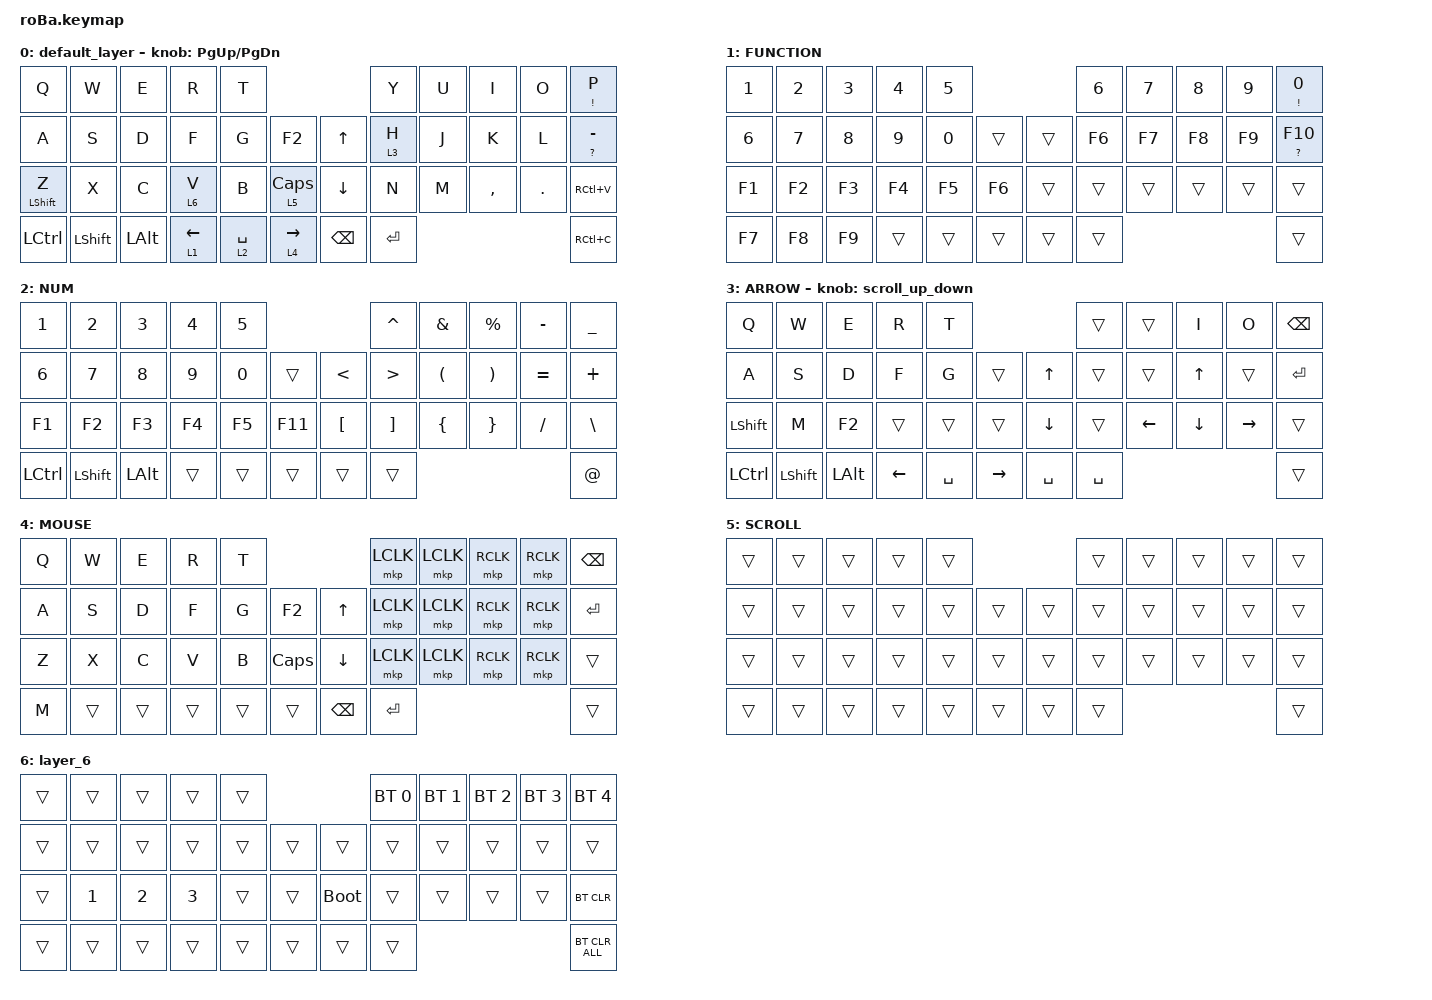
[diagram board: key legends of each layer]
#include <behaviors.dtsi>
#include <dt-bindings/zmk/bt.h>
#include <dt-bindings/zmk/keys.h>
#include <dt-bindings/zmk/pointing.h>

&mt {
    flavor = "balanced";
    quick-tap-ms = <0>;
};

&trackball {
    automouse-layer = <4>;
    scroll-layers = <5>;

    // arrows {
    //     layers = <3>;
    //     bindings =
    //         <&kp RIGHT_ARROW>,
    //         <&kp LEFT_ARROW>,
    //         <&kp UP_ARROW>,
    //         <&kp DOWN_ARROW>;
    //     tick = <10>;
    //     wait-ms = <5>;
    //     tap-ms = <5>;
    // };
};

/ {
    combos {
        compatible = "zmk,combos";

        tab {
            bindings = <&kp TAB>;
            key-positions = <11 12>;
        };

        shift_tab {
            bindings = <&kp LS(TAB)>;
            key-positions = <12 13>;
        };

        muhennkann {
            bindings = <&to_layer_0 INT_MUHENKAN>;
            key-positions = <11 10>;
        };

        double_quotation {
            bindings = <&kp DOUBLE_QUOTES>;
            key-positions = <20 21>;
        };

        eq {
            bindings = <&kp EQUAL>;
            key-positions = <24 25>;
        };
    };

    macros {
        to_layer_0: to_layer_0 {
            compatible = "zmk,behavior-macro-one-param";
            #binding-cells = <1>;
            bindings = <&to 0 &macro_param_1to1 &kp MACRO_PLACEHOLDER>;
            label = "TO_LAYER_0";
        };
    };

    behaviors {
        lt_to_layer_0: lt_to_layer_0 {
            compatible = "zmk,behavior-hold-tap";
            label = "LAYER_TAP_TO_0";
            bindings = <&mo>, <&to_layer_0>;

            scroll_up_down: behavior_sensor_rotate_mouse_wheel_up_down {
                compatible = "zmk,behavior-sensor-rotate";
                #sensor-binding-cells = <0>;
                bindings = <&msc SCRL_UP>, <&msc SCRL_DOWN>;

                tap-ms = <20>;
            };

            #binding-cells = <2>;
            tapping-term-ms = <200>;
        };
    };

    keymap {
        compatible = "zmk,keymap";

        default_layer {
            bindings = <
&kp Q             &kp W           &kp E         &kp R             &kp T                                               &kp Y      &kp U  &kp I      &kp O    &mt EXCL P
&kp A             &kp S           &kp D         &kp F             &kp G        &kp F2                 &kp UP_ARROW    &lt 3 H    &kp J  &kp K      &kp L    &mt QUESTION MINUS
&mt LEFT_SHIFT Z  &kp X           &kp C         &lt 6 V           &kp B        &lt 5 CAPSLOCK         &kp DOWN_ARROW  &kp N      &kp M  &kp COMMA  &kp DOT  &kp RC(V)
&kp LCTRL         &kp LEFT_SHIFT  &kp LEFT_ALT  &lt 1 LEFT_ARROW  &lt 2 SPACE  &lt 4 RIGHT_ARROW      &kp BACKSPACE   &kp ENTER                             &kp RC(C)
            >;

            sensor-bindings = <&inc_dec_kp PAGE_UP PAGE_DOWN>;
        };

        FUNCTION {
            bindings = <
&kp NUMBER_1  &kp NUMBER_2  &kp NUMBER_3  &kp NUMBER_4  &kp NUMBER_5                      &kp NUMBER_6  &kp NUMBER_7  &kp NUMBER_8  &kp NUMBER_9  &mt EXCL NUMBER_0
&kp NUMBER_6  &kp NUMBER_7  &kp NUMBER_8  &kp NUMBER_9  &kp NUMBER_0  &trans      &trans  &kp F6        &kp F7        &kp F8        &kp F9        &mt QUESTION F10
&kp F1        &kp F2        &kp F3        &kp F4        &kp F5        &kp F6      &trans  &trans        &trans        &trans        &trans        &trans
&kp F7        &kp F8        &kp F9        &trans        &trans        &trans      &trans  &trans                                                  &trans
            >;
        };

        NUM {
            bindings = <
&kp NUMBER_1      &kp NUMBER_2    &kp NUMBER_3  &kp NUMBER_4  &kp NUMBER_5                                 &kp CARET          &kp AMPERSAND         &kp PRCNT              &kp MINUS  &kp UNDER
&kp NUMBER_6      &kp NUMBER_7    &kp NUMBER_8  &kp NUMBER_9  &kp NUMBER_0  &trans       &kp LESS_THAN     &kp GREATER_THAN   &kp LEFT_PARENTHESIS  &kp RIGHT_PARENTHESIS  &kp EQUAL  &kp PLUS
&kp F1            &kp F2          &kp F3        &kp F4        &kp F5        &kp F11      &kp LEFT_BRACKET  &kp RIGHT_BRACKET  &kp LEFT_BRACE        &kp RIGHT_BRACE        &kp SLASH  &kp BACKSLASH
&kp LEFT_CONTROL  &kp LEFT_SHIFT  &kp LEFT_ALT  &trans        &trans        &trans       &trans            &trans                                                                     &kp AT
            >;
        };

        ARROW {
            bindings = <
&kp Q             &kp W           &kp E         &kp R           &kp T                                           &trans     &trans          &kp I           &kp O            &kp BACKSPACE
&kp A             &kp S           &kp D         &kp F           &kp G      &trans               &kp UP_ARROW    &trans     &trans          &kp UP_ARROW    &trans           &kp ENTER
&kp LEFT_SHIFT    &kp M           &kp F2        &trans          &trans     &trans               &kp DOWN_ARROW  &trans     &kp LEFT_ARROW  &kp DOWN_ARROW  &kp RIGHT_ARROW  &trans
&kp LEFT_CONTROL  &kp LEFT_SHIFT  &kp LEFT_ALT  &kp LEFT_ARROW  &kp SPACE  &kp RIGHT_ARROW      &kp SPACE       &kp SPACE                                                   &trans
            >;

            sensor-bindings = <&scroll_up_down>;
        };

        MOUSE {
            bindings = <
&kp Q  &kp W   &kp E   &kp R   &kp T                                     &mkp LCLK  &mkp LCLK  &mkp RCLK  &mkp RCLK  &kp BACKSPACE
&kp A  &kp S   &kp D   &kp F   &kp G   &kp F2            &kp UP_ARROW    &mkp LCLK  &mkp LCLK  &mkp RCLK  &mkp RCLK  &kp ENTER
&kp Z  &kp X   &kp C   &kp V   &kp B   &kp CAPSLOCK      &kp DOWN_ARROW  &mkp LCLK  &mkp LCLK  &mkp RCLK  &mkp RCLK  &trans
&kp M  &trans  &trans  &trans  &trans  &trans            &kp BACKSPACE   &kp ENTER                                   &trans
            >;
        };

        SCROLL {
            bindings = <
&trans  &trans  &trans  &trans  &trans                      &trans  &trans  &trans  &trans  &trans
&trans  &trans  &trans  &trans  &trans  &trans      &trans  &trans  &trans  &trans  &trans  &trans
&trans  &trans  &trans  &trans  &trans  &trans      &trans  &trans  &trans  &trans  &trans  &trans
&trans  &trans  &trans  &trans  &trans  &trans      &trans  &trans                          &trans
            >;
        };

        layer_6 {
            bindings = <
&trans  &trans        &trans        &trans        &trans                           &bt BT_SEL 0  &bt BT_SEL 1  &bt BT_SEL 2  &bt BT_SEL 3  &bt BT_SEL 4
&trans  &trans        &trans        &trans        &trans  &trans      &trans       &trans        &trans        &trans        &trans        &trans
&trans  &kp NUMBER_1  &kp NUMBER_2  &kp NUMBER_3  &trans  &trans      &bootloader  &trans        &trans        &trans        &trans        &bt BT_CLR
&trans  &trans        &trans        &trans        &trans  &trans      &trans       &trans                                                  &bt BT_CLR_ALL
            >;
        };
    };
};
